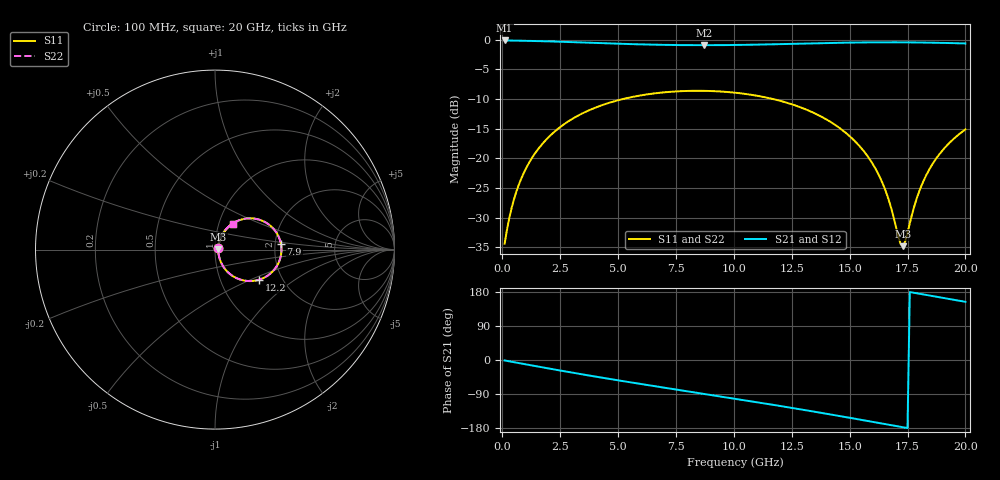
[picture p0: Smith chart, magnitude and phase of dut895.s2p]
! Touchstone file exported from HFSS 2026.1.0
!  File:  C:/ffzhzh/LocalFiles/Ansys_Project_Files/temp_train_TSV_RDL_895_1783275786_5512.aedt
!  Generated:  02:34:39 AM Jul  6, 2026
!  Design:  TSV_RDL
!  Project:  temp_train_TSV_RDL_895_1783275786_5512
! Variables:
!  h_bsmrdl = 5.29um
!  h_ox = 20um
!  h_rdl = 5um
!  h_sub = 79.92um
!  h_tmrdl = 3.15um
!  h_tsv = 79.92um
!  h_via = 3um
!  l_bsmrdl = 595.98um
!  l_sub = 3381.07um
!  l_tmrdl = 261.72um
!  m_sub = 200um
!  pitch = 38.16um
!  r_tsv = 3.2um
!  s_tmrdl = 10um
!  w_bsmrdl = 25.01um
!  w_sub = 500um
!  w_tmrdl = 23.74um
!  x_tsv_center1 = 273.59um
!  x_tsv_center2 = 894.58um
!  x_tsv_center3 = 1180.04um
!  x_tsv_center4 = 1801.03um
!  x_tsv_center5 = 2086.49um
!  x_tsv_center6 = 2707.48um
# GHz S MA R 50.000000
! Terminal data exported
! Port[1] = TM_RDL1_1_T1
! Port[2] = TM_RDL5_1_T1
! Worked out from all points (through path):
!   200 points, 100 MHz to 20 GHz, reference 50 ohm
!   highest |S21| = -0.15 dB at 100 MHz (marker M1); lowest = -0.9 dB at 8.7 GHz (marker M2)
!   group delay of S21, straight-line fit = 28.1 ps
!   lowest |S11| = -34.8 dB at 17.3 GHz (marker M3), VSWR 1.04, Z = 51.8 + j0.124 ohm
!   |S11| at or under -10 dB: start of sweep to 5.23 GHz; 11.67 GHz to end of sweep
!   |S22| runs from -34.7 to -8.6 dB; largest |S21 - S12| = 7.8e-14
!   S11 on the Smith chart (normalised r, x): 100 MHz: 1.03, +0.02; 7.9 GHz: 2.15, +0.15; 12.2 GHz: 1.52, -0.56; 20 GHz: 1.16, +0.35
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0.1  0.01905 27.1  0.9832 -1.2  0.9832 -1.2  0.01905 27.1
! Gamma 0 0 0 0
! Port Impedance 50 0 50 0
0.5  0.04481 58.5  0.9796 -5.7  0.9796 -5.7  0.04481 58.5
1.2  0.09474 63.7  0.9745 -13.5  0.9745 -13.5  0.09474 63.7
2.2  0.1638 57.4  0.9635 -24.5  0.9635 -24.5  0.1638 57.4
3.5  0.241 45.6  0.9446 -38.4  0.9446 -38.4  0.241 45.6
5.1  0.3117 30.5  0.9215 -54.6  0.9215 -54.6  0.3117 30.5
6.8  0.3563 14.8  0.9039 -71.2  0.9039 -71.2  0.3563 14.8
7.9  0.3688 4.8  0.8981 -81.7  0.8981 -81.7  0.3688 4.8
8.7  0.37 -2.4  0.8969 -89.3  0.8969 -89.3  0.3699 -2.4
10.1  0.356 -15.1  0.9007 -102.7  0.9007 -102.7  0.356 -15.1
12.2  0.2972 -34.4  0.9173 -123.3  0.9173 -123.3  0.2972 -34.4
13.4  0.2439 -45.5  0.9293 -135.6  0.9293 -135.6  0.2438 -45.4
14.6  0.1779 -56.1  0.9402 -148.2  0.9402 -148.2  0.1779 -56.0
15.5  0.122 -62.8  0.946 -157.8  0.946 -157.8  0.122 -62.6
16.2  0.07625 -64.9  0.9485 -165.4  0.9485 -165.4  0.07627 -64.7
16.7  0.04388 -59.5  0.949 -170.9  0.949 -170.9  0.04395 -59.2
17.1  0.022 -32.7  0.9487 -175.2  0.9487 -175.2  0.02221 -32.1
17.3  0.01817 3.8  0.9482 -177.4  0.9482 -177.4  0.01846 3.9
17.9  0.04596 60.2  0.9459 176.0  0.9459 176.0  0.04613 59.9
18.4  0.07779 64.7  0.9428 170.6  0.9428 170.6  0.07792 64.5
19.1  0.122 62.4  0.937 163.1  0.937 163.1  0.1221 62.2
20  0.175 55.8  0.9277 153.6  0.9277 153.6  0.1751 55.7
